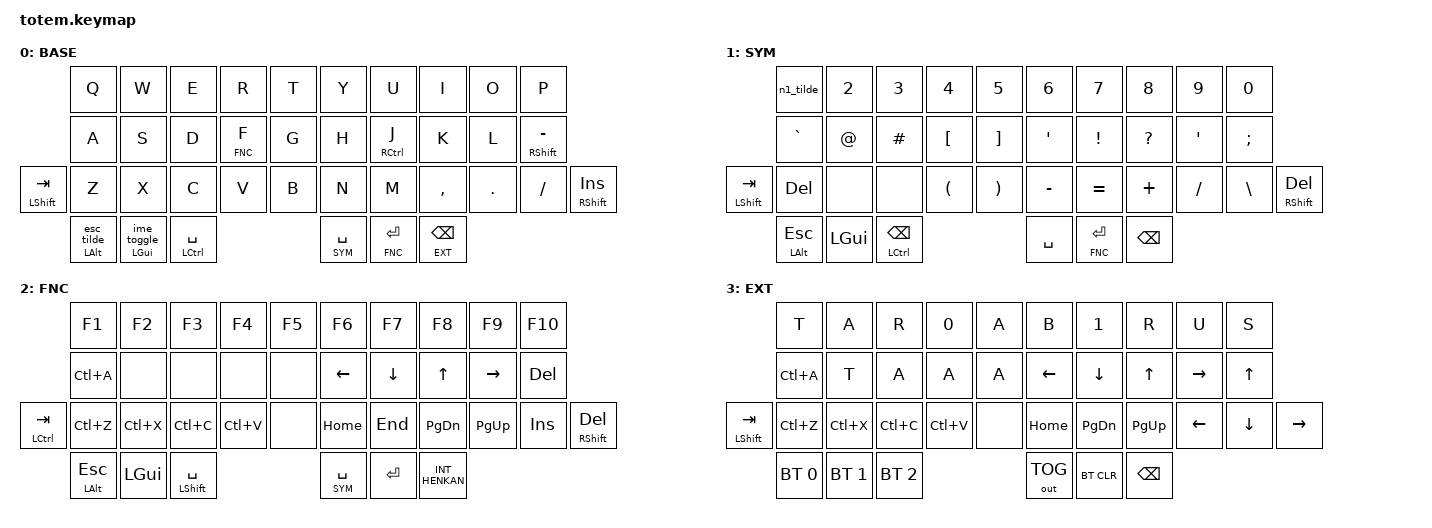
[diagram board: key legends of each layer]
//
//                                                        ▀▀▀▀▀     ▀▀▀▀▀          ▀▀█▀▀
//                                                        ▄▀▀▀▄  ▄  ▄▀▀▀▄  ▄  ▄▀▀▀▄  █  ▄▀▀▀▄
//                                                        █   █  █  █   █  █  █   █  █  █   █
//                                                         ▀▀▀   █   ▀▀▀   █   ▀▀▀   ▀   ▀▀▀
//                                                               █      ▄▄▄█▄▄▄    █   █  
//                                                               ▀      █  █  █     █▄█
//                                                             ▀▀▀▀▀    █  █  █      ▀
//                                                                      ▀  ▀  ▀
//
// ▄▄▄▄▄▄▄▄▄▄▄▄▄▄▄▄▄▄▄▄▄▄▄▄▄▄▄▄▄▄▄▄▄▄▄▄▄▄▄▄▄▄▄▄▄▄▄▄▄▄▄▄▄▄▄▄▄▄▄▄▄▄▄▄▄▄▄▄▄▄▄▄▄▄▄▄▄▄▄▄▄▄▄▄▄▄▄▄▄▄▄▄▄▄▄▄▄▄▄▄▄▄▄▄▄▄▄▄▄▄▄▄▄▄▄▄▄▄▄▄▄▄▄▄▄▄▄▄▄▄▄▄▄▄▄▄▄▄▄▄▄▄▄▄▄▄▄▄▄
       

#include <behaviors.dtsi>
#include <dt-bindings/zmk/keys.h>
#include <dt-bindings/zmk/bt.h>
#include <dt-bindings/zmk/outputs.h>

#define BASE 0
#define SYM  1
#define FNC  2
#define EXT  3
#define TVP1 4
#define TVP2 5


&mt {
  quick-tap-ms = <100>;
  global-quick-tap;
  flavor = "tap-preferred";
  tapping-term-ms = <170>;
};

/ {
    behaviors {
        // rshft_ime: 右下端。tap=(呼び出し時指定、INS 想定)、hold=RSHIFT。
        // 以前は tap=IME toggle macro を組込んでいたが、使用頻度が低く
        // 右小指の IME toggle は撤去。bindings を kp/kp に戻し汎用化。
        rshft_ime: rshft_ime {
            compatible = "zmk,behavior-hold-tap";
            #binding-cells = <2>;
            flavor = "balanced";            // tap-preferred → balanced
            tapping-term-ms = <500>;        // 170 → 500 (never-HOLD-alone)
            quick-tap-ms = <200>;
            bindings = <&kp>, <&kp>;        // IME macro 撤去
        };
        lctrl_ime: lctrl_ime {
            compatible = "zmk,behavior-hold-tap";
            #binding-cells = <2>;
            flavor = "balanced";
            tapping-term-ms = <500>;        // 170 → 500 (他 hold-tap と揃える)
            quick-tap-ms = <200>;
            bindings = <&kp>, <&kp>;
        };
        lgui_ime: lgui_ime {
            compatible = "zmk,behavior-hold-tap";
            #binding-cells = <2>;
            flavor = "hold-preferred";      // balanced → hold-preferred (CMD combo race 解消)
            tapping-term-ms = <250>;        // 500 → 250 (tap 判定を速く)
            quick-tap-ms = <200>;
            bindings = <&kp>, <&ime_toggle>;
        };

        // esc_tilde: 単独=ESC、Shift 併用=~ (TILDE)
        esc_tilde: esc_tilde {
            compatible = "zmk,behavior-mod-morph";
            #binding-cells = <0>;
            bindings = <&kp ESC>, <&kp TILDE>;
            mods = <(MOD_LSFT|MOD_RSFT)>;
        };
        // alt_esctilde: hold=LALT、tap=esc_tilde (= 上の mod-morph)
        // BASE 左親指左端で Shift+tap → ~ を実現
        alt_esctilde: alt_esctilde {
            compatible = "zmk,behavior-hold-tap";
            #binding-cells = <2>;
            flavor = "balanced";
            tapping-term-ms = <500>;
            quick-tap-ms = <200>;
            bindings = <&kp>, <&esc_tilde>;
        };

        // lt_sym: 右親指左の SYM layer-tap、hold-preferred で thumb-released-first slip を解消
        // 既定 &lt は tap-preferred で「素早く SYM+J」打鍵時に j に化ける問題を fix。
        // SPACE roll 副作用は: 英語入力は左親指 (&lctrl_ime) を使い、日本語入力では
        // 変換用途で右親指 SPC を打つが SPACE 直後の roll 打鍵は発生しないため実害なし。
        lt_sym: lt_sym {
            compatible = "zmk,behavior-hold-tap";
            #binding-cells = <2>;
            flavor = "hold-preferred";
            tapping-term-ms = <200>;
            quick-tap-ms = <200>;
            bindings = <&mo>, <&kp>;
        };

        // n1_tilde: 単独=1、Shift 併用=~
        // SYM 左上 Q 位置で Shift+tap → ~ を実現 (従来は ! に解決されていた)
        n1_tilde: n1_tilde {
            compatible = "zmk,behavior-mod-morph";
            #binding-cells = <0>;
            bindings = <&kp N1>, <&kp TILDE>;
            mods = <(MOD_LSFT|MOD_RSFT)>;
        };
    };

     combos {
            compatible = "zmk,combos";
            combo_esc {
                timeout-ms = <50>;
                key-positions = <0 1>;
                bindings = <&kp ESC>;
            };
            combo_tvp {
                timeout-ms = <100>;
                key-positions = <11 12 13>;
                bindings = <&tog TVP1>;
            };
    };

    macros {
        ime_toggle: ime_toggle {
            compatible = "zmk,behavior-macro";
            #binding-cells = <0>;
            bindings
                = <&macro_press &kp LCTRL>
                , <&macro_tap &kp SPACE>
                , <&macro_release &kp LCTRL>
                ;
        };
        gif: gif {
            label = "giphy";
            compatible = "zmk,behavior-macro";
            #binding-cells = <0>;
            bindings
                = <&macro_press &kp LSHFT>
                , <&macro_tap &kp N2>
                , <&macro_release &kp LSHFT>
                , <&macro_tap &kp G &kp I &kp F>
                ;
        };
    };

        keymap {
                compatible = "zmk,keymap";
// ▄▄▄▄▄▄▄▄▄▄▄▄▄▄▄▄▄▄▄▄▄▄▄▄▄▄▄▄▄▄▄▄▄▄▄▄▄▄▄▄▄▄▄▄▄▄▄▄▄▄▄▄▄▄▄▄▄▄▄▄▄▄▄▄▄▄▄▄▄▄▄▄▄▄▄▄▄▄▄▄▄▄▄▄▄▄▄▄▄▄▄▄▄▄▄▄▄▄▄▄▄▄▄▄▄▄▄▄▄▄▄▄▄▄▄▄▄▄▄▄▄▄▄▄▄▄▄▄▄▄▄▄▄▄▄▄▄▄▄▄▄▄▄▄▄▄▄▄▄

                base_layer {
// ┏━━━━━━━━━━━━━━━━━━━━━━━━━━━━━━━━━━━━━━━┓
label= "BASE"                              ;
// ┗━━━━━━━━━━━━━━━━━━━━━━━━━━━━━━━━━━━━━━━┛
//             ┏━━━━━━━━━━━┳━━━━━━━━━━━┳━━━━━━━━━━━┳━━━━━━━━━━━┳━━━━━━━━━━━┓   ┏━━━━━━━━━━━┳━━━━━━━━━━━┳━━━━━━━━━━━┳━━━━━━━━━━━┳━━━━━━━━━━━┓
//             ┃     Q     ┃     W     ┃     E     ┃     R     ┃     T     ┃   ┃     Y     ┃     U     ┃     I     ┃     O     ┃     P     ┃
//             ┣━━━━━━━━━━━╋━━━━━━━━━━━╋━━━━━━━━━━━╋━━━━━━━━━━━╋━━━━━━━━━━━┫   ┣━━━━━━━━━━━╋━━━━━━━━━━━╋━━━━━━━━━━━╋━━━━━━━━━━━╋━━━━━━━━━━━┫
//             ┃     A     ┃     S     ┃     D     ┃     F     ┃     G     ┃   ┃     H     ┃     J     ┃     K     ┃     L     ┃     -     ┃
// ┏━━━━━━━━━━━╋━━━━━━━━━━━╋━━━━━━━━━━━╋━━━━━━━━━━━╋━━━━━━━━━━━╋━━━━━━━━━━━┫   ┣━━━━━━━━━━━╋━━━━━━━━━━━╋━━━━━━━━━━━╋━━━━━━━━━━━╋━━━━━━━━━━━╋━━━━━━━━━━━┓
// ┃   SHIFT   ┃     Z     ┃     X     ┃     C     ┃     V     ┃     B     ┃   ┃     N     ┃     M     ┃     ,     ┃     .     ┃     /     ┃   SH/IME  ┃
// ┗━━━━━━━━━━━┻━━━━━━━━━━━┻━━━━━━━━━━━╋━━━━━━━━━━━╋━━━━━━━━━━━╋━━━━━━━━━━━┫   ┣━━━━━━━━━━━╋━━━━━━━━━━━╋━━━━━━━━━━━╋━━━━━━━━━━━┻━━━━━━━━━━━┻━━━━━━━━━━━┛
//                                     ┃    ALT    ┃  GUI/IME  ┃  CTL/IME  ┃   ┃    SPC    ┃   ENTER   ┃   BSPC    ┃
//                                     ┗━━━━━━━━━━━┻━━━━━━━━━━━┻━━━━━━━━━━━┛   ┗━━━━━━━━━━━┻━━━━━━━━━━━┻━━━━━━━━━━━┛
 bindings = <
// ╷           ╷           ╷           ╷           ╷           ╷           ╷   ╷           ╷           ╷           ╷           ╷           ╷           ╷

                &kp Q       &kp W       &kp E       &kp R       &kp T           &kp Y       &kp U       &kp I       &kp O       &kp P
                &kp A       &kp S       &kp D       &lt FNC F   &kp G           &kp H       &mt RCTRL J &kp K       &kp L       &mt RSHFT MINUS
&mt LSHFT TAB   &kp Z       &kp X       &kp C       &kp V       &kp B           &kp N       &kp M       &kp COMMA   &kp DOT     &kp FSLH    &rshft_ime RSHFT INS
                 &alt_esctilde LALT 0  &lgui_ime LGUI 0  &lctrl_ime LCTRL SPACE &lt_sym SYM SPACE &lt FNC RET &lt EXT BSPC
                     >;
                };

// ▄▄▄▄▄▄▄▄▄▄▄▄▄▄▄▄▄▄▄▄▄▄▄▄▄▄▄▄▄▄▄▄▄▄▄▄▄▄▄▄▄▄▄▄▄▄▄▄▄▄▄▄▄▄▄▄▄▄▄▄▄▄▄▄▄▄▄▄▄▄▄▄▄▄▄▄▄▄▄▄▄▄▄▄▄▄▄▄▄▄▄▄▄▄▄▄▄▄▄▄▄▄▄▄▄▄▄▄▄▄▄▄▄▄▄▄▄▄▄▄▄▄▄▄▄▄▄▄▄▄▄▄▄▄▄▄▄▄▄▄▄▄▄▄▄▄▄▄▄


                sym_layer {
// ┏━━━━━━━━━━━━━━━━━━━━━━━━━━━━━━━━━━━━━━━┓
label= "SYM"                               ;
// ┗━━━━━━━━━━━━━━━━━━━━━━━━━━━━━━━━━━━━━━━┛
//             ┏━━━━━━━━━━━┳━━━━━━━━━━━┳━━━━━━━━━━━┳━━━━━━━━━━━┳━━━━━━━━━━━┓   ┏━━━━━━━━━━━┳━━━━━━━━━━━┳━━━━━━━━━━━┳━━━━━━━━━━━┳━━━━━━━━━━━┓
//             ┃     1     ┃     2     ┃     3     ┃     4     ┃     5     ┃   ┃     6     ┃     7     ┃     8     ┃     9     ┃     0     ┃
//             ┣━━━━━━━━━━━╋━━━━━━━━━━━╋━━━━━━━━━━━╋━━━━━━━━━━━╋━━━━━━━━━━━┫   ┣━━━━━━━━━━━╋━━━━━━━━━━━╋━━━━━━━━━━━╋━━━━━━━━━━━╋━━━━━━━━━━━┫
//             ┃   GRAVE   ┃     @     ┃     #     ┃     [     ┃     ]     ┃   ┃     '     ┃     !     ┃     ?     ┃     '     ┃     ;     ┃
// ┏━━━━━━━━━━━╋━━━━━━━━━━━╋━━━━━━━━━━━╋━━━━━━━━━━━╋━━━━━━━━━━━╋━━━━━━━━━━━┫   ┣━━━━━━━━━━━╋━━━━━━━━━━━╋━━━━━━━━━━━╋━━━━━━━━━━━╋━━━━━━━━━━━╋━━━━━━━━━━━┓
// ┃   SHIFT   ┃           ┃           ┃           ┃     (     ┃     )     ┃   ┃     -     ┃     =     ┃     +     ┃     /     ┃     \     ┃   SH/DEL  ┃
// ┗━━━━━━━━━━━┻━━━━━━━━━━━┻━━━━━━━━━━━╋━━━━━━━━━━━╋━━━━━━━━━━━╋━━━━━━━━━━━┫   ┣━━━━━━━━━━━╋━━━━━━━━━━━╋━━━━━━━━━━━╋━━━━━━━━━━━┻━━━━━━━━━━━┻━━━━━━━━━━━┛
//                                     ┃    ALT    ┃    GUI    ┃    CTRL   ┃   ┃    SPC    ┃   ENTER   ┃   BSPC    ┃
//                                     ┗━━━━━━━━━━━┻━━━━━━━━━━━┻━━━━━━━━━━━┛   ┗━━━━━━━━━━━┻━━━━━━━━━━━┻━━━━━━━━━━━┛
 bindings = <
// ╷           ╷           ╷           ╷           ╷           ╷           ╷   ╷           ╷           ╷           ╷           ╷           ╷           ╷

                &n1_tilde   &kp N2      &kp N3      &kp N4      &kp N5          &kp N6      &kp N7      &kp N8      &kp N9      &kp N0
                &kp GRAVE   &kp AT      &kp HASH    &kp LBKT    &kp RBKT        &kp APOS    &kp EXCL    &kp QMARK   &kp APOS    &kp SEMI
 &mt LSHFT TAB   &kp DEL    &none       &none       &kp LPAR    &kp RPAR        &kp MINUS   &kp EQUAL   &kp PLUS    &kp FSLH    &kp BSLH    &mt RSHFT DEL
                                        &mt LALT ESC &kp LGUI   &mt LCTRL BSPC  &kp SPACE   &lt FNC RET &kp BSPC
                        >;
                };

// ▄▄▄▄▄▄▄▄▄▄▄▄▄▄▄▄▄▄▄▄▄▄▄▄▄▄▄▄▄▄▄▄▄▄▄▄▄▄▄▄▄▄▄▄▄▄▄▄▄▄▄▄▄▄▄▄▄▄▄▄▄▄▄▄▄▄▄▄▄▄▄▄▄▄▄▄▄▄▄▄▄▄▄▄▄▄▄▄▄▄▄▄▄▄▄▄▄▄▄▄▄▄▄▄▄▄▄▄▄▄▄▄▄▄▄▄▄▄▄▄▄▄▄▄▄▄▄▄▄▄▄▄▄▄▄▄▄▄▄▄▄▄▄▄▄▄▄▄▄


                fnc_layer {
// ┏━━━━━━━━━━━━━━━━━━━━━━━━━━━━━━━━━━━━━━━┓
label= "FNC"                               ;
// ┗━━━━━━━━━━━━━━━━━━━━━━━━━━━━━━━━━━━━━━━┛
//             ┏━━━━━━━━━━━┳━━━━━━━━━━━┳━━━━━━━━━━━┳━━━━━━━━━━━┳━━━━━━━━━━━┓   ┏━━━━━━━━━━━┳━━━━━━━━━━━┳━━━━━━━━━━━┳━━━━━━━━━━━┳━━━━━━━━━━━┓
//             ┃    F1     ┃    F2     ┃    F3     ┃    F4     ┃    F5     ┃   ┃    F6     ┃    F7     ┃    F8     ┃    F9     ┃    F10    ┃
//             ┣━━━━━━━━━━━╋━━━━━━━━━━━╋━━━━━━━━━━━╋━━━━━━━━━━━╋━━━━━━━━━━━┫   ┣━━━━━━━━━━━╋━━━━━━━━━━━╋━━━━━━━━━━━╋━━━━━━━━━━━╋━━━━━━━━━━━┫
//             ┃  SEL ALL  ┃    SAVE   ┃           ┃           ┃           ┃   ┃   LEFT    ┃   DOWN    ┃    UP     ┃   RIGHT   ┃    DEL    ┃
// ┏━━━━━━━━━━━╋━━━━━━━━━━━╋━━━━━━━━━━━╋━━━━━━━━━━━╋━━━━━━━━━━━╋━━━━━━━━━━━┫   ┣━━━━━━━━━━━╋━━━━━━━━━━━╋━━━━━━━━━━━╋━━━━━━━━━━━╋━━━━━━━━━━━╋━━━━━━━━━━━┓
// ┃   CTRL    ┃    UNDO   ┃    CUT    ┃   COPY    ┃   PASTE   ┃           ┃   ┃   HOME    ┃    END    ┃   PGDN    ┃   PGUP    ┃    INS    ┃   SH/DEL  ┃
// ┗━━━━━━━━━━━┻━━━━━━━━━━━┻━━━━━━━━━━━╋━━━━━━━━━━━╋━━━━━━━━━━━╋━━━━━━━━━━━┫   ┣━━━━━━━━━━━╋━━━━━━━━━━━╋━━━━━━━━━━━╋━━━━━━━━━━━┻━━━━━━━━━━━┻━━━━━━━━━━━┛
//                                     ┃    ALT    ┃    GUI    ┃   SHIFT   ┃   ┃    SPC    ┃   ENTER   ┃   BSPC    ┃
//                                     ┗━━━━━━━━━━━┻━━━━━━━━━━━┻━━━━━━━━━━━┛   ┗━━━━━━━━━━━┻━━━━━━━━━━━┻━━━━━━━━━━━┛
 bindings = <
// ╷           ╷           ╷           ╷           ╷           ╷           ╷   ╷           ╷           ╷           ╷           ╷           ╷           ╷

                &kp F1      &kp F2      &kp F3      &kp F4      &kp F5          &kp F6       &kp F7       &kp F8     &kp F9       &kp F10       
                &kp LC(A)   &none       &none       &none       &none           &kp LEFT     &kp DOWN     &kp UP     &kp RIGHT    &kp DEL 
&mt LCTRL TAB   &kp LC(Z)   &kp LC(X)   &kp LC(C)   &kp LC(V)   &none           &kp HOME     &kp END      &kp PG_DN  &kp PG_UP   &kp INS    &mt RSHFT DEL
                                        &mt LALT ESC &kp LGUI   &mt LSHFT SPACE &lt_sym SYM SPACE &kp RET &kp INT_HENKAN
                        >;
                };
                
                
// ▄▄▄▄▄▄▄▄▄▄▄▄▄▄▄▄▄▄▄▄▄▄▄▄▄▄▄▄▄▄▄▄▄▄▄▄▄▄▄▄▄▄▄▄▄▄▄▄▄▄▄▄▄▄▄▄▄▄▄▄▄▄▄▄▄▄▄▄▄▄▄▄▄▄▄▄▄▄▄▄▄▄▄▄▄▄▄▄▄▄▄▄▄▄▄▄▄▄▄▄▄▄▄▄▄▄▄▄▄▄▄▄▄▄▄▄▄▄▄▄▄▄▄▄▄▄▄▄▄▄▄▄▄▄▄▄▄▄▄▄▄▄▄▄▄▄▄▄▄


                ext_layer {
// ┏━━━━━━━━━━━━━━━━━━━━━━━━━━━━━━━━━━━━━━━┓
label= "EXT"                               ;
// ┗━━━━━━━━━━━━━━━━━━━━━━━━━━━━━━━━━━━━━━━┛
//             ┏━━━━━━━━━━━┳━━━━━━━━━━━┳━━━━━━━━━━━┳━━━━━━━━━━━┳━━━━━━━━━━━┓   ┏━━━━━━━━━━━┳━━━━━━━━━━━┳━━━━━━━━━━━┳━━━━━━━━━━━┳━━━━━━━━━━━┓
//             ┃    F1     ┃    F2     ┃    F3     ┃    F4     ┃    F5     ┃   ┃    F6     ┃    F7     ┃    F8     ┃    F9     ┃    F10    ┃
//             ┣━━━━━━━━━━━╋━━━━━━━━━━━╋━━━━━━━━━━━╋━━━━━━━━━━━╋━━━━━━━━━━━┫   ┣━━━━━━━━━━━╋━━━━━━━━━━━╋━━━━━━━━━━━╋━━━━━━━━━━━╋━━━━━━━━━━━┫
//             ┃           ┃           ┃           ┃           ┃           ┃   ┃   LEFT    ┃   DOWN    ┃    UP     ┃   RIGHT   ┃    UP     ┃
// ┏━━━━━━━━━━━╋━━━━━━━━━━━╋━━━━━━━━━━━╋━━━━━━━━━━━╋━━━━━━━━━━━╋━━━━━━━━━━━┫   ┣━━━━━━━━━━━╋━━━━━━━━━━━╋━━━━━━━━━━━╋━━━━━━━━━━━╋━━━━━━━━━━━╋━━━━━━━━━━━┓
// ┃   SHIFT   ┃           ┃           ┃           ┃           ┃           ┃   ┃   HOME    ┃   PGDN    ┃   PGUP    ┃   LEFT    ┃   DOWN    ┃   RIGHT   ┃
// ┗━━━━━━━━━━━┻━━━━━━━━━━━┻━━━━━━━━━━━╋━━━━━━━━━━━╋━━━━━━━━━━━╋━━━━━━━━━━━┫   ┣━━━━━━━━━━━╋━━━━━━━━━━━╋━━━━━━━━━━━╋━━━━━━━━━━━┻━━━━━━━━━━━┻━━━━━━━━━━━┛
//                                     ┃    BT0    ┃    BT1    ┃    BT2    ┃   ┃    TOG    ┃   BTCLR   ┃   BSPC    ┃
//                                     ┗━━━━━━━━━━━┻━━━━━━━━━━━┻━━━━━━━━━━━┛   ┗━━━━━━━━━━━┻━━━━━━━━━━━┻━━━━━━━━━━━┛
 bindings = <
// ╷           ╷           ╷           ╷           ╷           ╷           ╷   ╷           ╷           ╷           ╷           ╷           ╷           ╷

                &kp T       &kp A       &kp R       &kp N0      &kp A           &kp B        &kp N1       &kp R      &kp U        &kp S       
                &kp LC(A)   &kp T       &kp A       &kp A       &kp A           &kp LEFT     &kp DOWN     &kp UP     &kp RIGHT    &kp UP 
&mt LSHFT TAB   &kp LC(Z)   &kp LC(X)   &kp LC(C)   &kp LC(V)     &none         &kp HOME     &kp PG_DN    &kp PG_UP  &kp LEFT     &kp DOWN   &kp RIGHT
                                     &bt BT_SEL 0 &bt BT_SEL 1 &bt BT_SEL 2    &out OUT_TOG &bt BT_CLR    &kp BSPC   
                        >;
                };
                
        };
};
